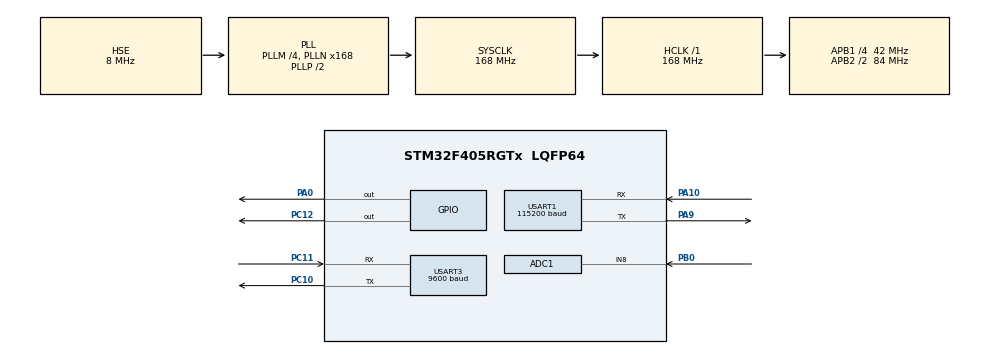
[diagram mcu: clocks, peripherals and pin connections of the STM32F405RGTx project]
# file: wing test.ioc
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ADC1.Channel-0\#ChannelRegularConversion=ADC_CHANNEL_8
ADC1.ContinuousConvMode=DISABLE
ADC1.InjNumberOfConversion=0
ADC1.NbrOfConversion=1
ADC1.NbrOfConversionFlag=1
ADC1.Rank-0\#ChannelRegularConversion=1
ADC1.SamplingTime-0\#ChannelRegularConversion=ADC_SAMPLETIME_144CYCLES
ADC1.ScanConvMode=DISABLE
ADC1.master=1
Mcu.Family=STM32F4
Mcu.Name=STM32F405RGTx
Mcu.Package=LQFP64
NVIC.PriorityGroup=NVIC_PRIORITYGROUP_4
NVIC.TIM3_IRQn=true\:13\:0\:true\:false\:true\:true\:true\:true
NVIC.USART3_IRQn=true\:2\:0\:true\:false\:true\:true\:true\:true
PA0-WKUP.GPIO_PuPd=GPIO_NOPULL
PA0-WKUP.GPIO_Speed=GPIO_SPEED_FREQ_VERY_HIGH
PA0-WKUP.PinState=GPIO_PIN_RESET
PA0-WKUP.Signal=GPIO_Output
PA10.Mode=Asynchronous
PA10.Signal=USART1_RX
PA9.Mode=Asynchronous
PA9.Signal=USART1_TX
PB0.Signal=ADCx_IN8
PC10.Mode=Asynchronous
PC10.Signal=USART3_TX
PC11.Mode=Asynchronous
PC11.Signal=USART3_RX
PC12.GPIO_ModeDefaultOutputPP=GPIO_MODE_OUTPUT_OD
PC12.GPIO_PuPd=GPIO_NOPULL
PC12.Signal=GPIO_Output
PH0-OSC_IN.Mode=HSE-External-Oscillator
PH0-OSC_IN.Signal=RCC_OSC_IN
PH1-OSC_OUT.Mode=HSE-External-Oscillator
PH1-OSC_OUT.Signal=RCC_OSC_OUT
ProjectManager.HeapSize=0x200
ProjectManager.StackSize=0x400
ProjectManager.TargetToolchain=MDK-ARM V5
RCC.48MHZClocksFreq_Value=84000000
RCC.AHBFreq_Value=168000000
RCC.APB1CLKDivider=RCC_HCLK_DIV4
RCC.APB1Freq_Value=42000000
RCC.APB1TimFreq_Value=84000000
RCC.APB2CLKDivider=RCC_HCLK_DIV2
RCC.APB2Freq_Value=84000000
RCC.APB2TimFreq_Value=168000000
RCC.CortexFreq_Value=168000000
RCC.HCLKFreq_Value=168000000
RCC.HSE_VALUE=8000000
RCC.HSI_VALUE=16000000
RCC.LSE_VALUE=32768
RCC.PLLM=4
RCC.PLLN=168
RCC.PLLSourceVirtual=RCC_PLLSOURCE_HSE
RCC.SYSCLKFreq_VALUE=168000000
RCC.SYSCLKSource=RCC_SYSCLKSOURCE_PLLCLK
RCC.VCOOutputFreq_Value=336000000
SH.ADCx_IN8.0=ADC1_IN8,IN8
TIM3.AutoReloadPreload=TIM_AUTORELOAD_PRELOAD_ENABLE
TIM3.Period=9999
TIM3.Prescaler=4799
USART1.BaudRate=115200
USART1.VirtualMode=VM_ASYNC
USART3.BaudRate=9600
USART3.VirtualMode=VM_ASYNC
VP_TIM3_VS_ClockSourceINT.Mode=Internal
board=custom

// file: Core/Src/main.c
/* USER CODE BEGIN Header */
/**
  ******************************************************************************
  * @file           : main.c
  * @brief          : Main program body
  ******************************************************************************
  * @attention
  *
  * Copyright (c) 2022 STMicroelectronics.
  * All rights reserved.
  *
  * This software is licensed under terms that can be found in the LICENSE file
  * in the root directory of this software component.
  * If no LICENSE file comes with this software, it is provided AS-IS.
  *
  ******************************************************************************
  */
/* USER CODE END Header */
#include "main.h"
#include "adc.h"
#include "tim.h"
#include "usart.h"
#include "gpio.h"

/* USER CODE BEGIN PV */
  uint8_t USART_Buffer[50],buffer[1];
  uint16_t USART_Length = 0;
/* USER CODE END PV */

void SystemClock_Config(void);

int main(void)
{

  /* MCU Configuration--------------------------------------------------------*/

  /* Reset of all peripherals, Initializes the Flash interface and the Systick. */
  HAL_Init();

  /* Configure the system clock */
  SystemClock_Config();

  /* Initialize all configured peripherals */
  MX_GPIO_Init();
  MX_USART1_UART_Init();
  MX_TIM3_Init();
  MX_ADC1_Init();
  MX_USART3_UART_Init();
  /* USER CODE BEGIN 2 */
  HAL_TIM_Base_Start_IT(&htim3);
  printf("Hello,world!\r\n");
  HAL_UART_Receive_IT(&huart3,buffer,1);
  /* USER CODE END 2 */

  /* Infinite loop */
  /* USER CODE BEGIN WHILE */
  while (1)
  {
//    HAL_GPIO_TogglePin(GPIOA,GPIO_PIN_0);
//    printf("Hello,world!%0.4f\r\n",3.1415926);
//    HAL_Delay(1000);
    /* USER CODE END WHILE */

  }
}

void SystemClock_Config(void)
{
  RCC_OscInitTypeDef RCC_OscInitStruct = {0};
  RCC_ClkInitTypeDef RCC_ClkInitStruct = {0};

  /** Configure the main internal regulator output voltage
  */
  __HAL_RCC_PWR_CLK_ENABLE();
  __HAL_PWR_VOLTAGESCALING_CONFIG(PWR_REGULATOR_VOLTAGE_SCALE1);

  /** Initializes the RCC Oscillators according to the specified parameters
  * in the RCC_OscInitTypeDef structure.
  */
  RCC_OscInitStruct.OscillatorType = RCC_OSCILLATORTYPE_HSE;
  RCC_OscInitStruct.HSEState = RCC_HSE_ON;
  RCC_OscInitStruct.PLL.PLLState = RCC_PLL_ON;
  RCC_OscInitStruct.PLL.PLLSource = RCC_PLLSOURCE_HSE;
  RCC_OscInitStruct.PLL.PLLM = 4;
  RCC_OscInitStruct.PLL.PLLN = 168;
  RCC_OscInitStruct.PLL.PLLP = RCC_PLLP_DIV2;
  RCC_OscInitStruct.PLL.PLLQ = 4;
  if (HAL_RCC_OscConfig(&RCC_OscInitStruct) != HAL_OK)
  {
    Error_Handler();
  }

  /** Initializes the CPU, AHB and APB buses clocks
  */
  RCC_ClkInitStruct.ClockType = RCC_CLOCKTYPE_HCLK|RCC_CLOCKTYPE_SYSCLK
                              |RCC_CLOCKTYPE_PCLK1|RCC_CLOCKTYPE_PCLK2;
  RCC_ClkInitStruct.SYSCLKSource = RCC_SYSCLKSOURCE_PLLCLK;
  RCC_ClkInitStruct.AHBCLKDivider = RCC_SYSCLK_DIV1;
  RCC_ClkInitStruct.APB1CLKDivider = RCC_HCLK_DIV4;
  RCC_ClkInitStruct.APB2CLKDivider = RCC_HCLK_DIV2;

  if (HAL_RCC_ClockConfig(&RCC_ClkInitStruct, FLASH_LATENCY_5) != HAL_OK)
  {
    Error_Handler();
  }
}

/* USER CODE BEGIN 4 */
void HAL_TIM_PeriodElapsedCallback(TIM_HandleTypeDef *htim)
{
  static uint32_t voltage_uint32;
  static double voltage;
  if(htim->Instance == TIM3)
  {
    HAL_ADC_Start(&hadc1);
    HAL_ADC_GetState(&hadc1);
    voltage_uint32 = HAL_ADC_GetValue(&hadc1);
    voltage = voltage_uint32/4095.0*50000;
    HAL_GPIO_TogglePin(GPIOA,GPIO_PIN_0);
    printf("voltage:%0.8f\r\n",voltage);
  }
}

void HAL_UART_RxCpltCallback(UART_HandleTypeDef *huart)
{
  static uint8_t res[1];
  static uint16_t point = 1;
  uint32_t measure_char;
  double measure_double;
  HAL_UART_Receive_IT(&huart3,res,1);
  USART_Buffer[USART_Length] = res[0];
  if(res[0] == '.')
  {
    point = USART_Length;
  }
  if((point != 1)&&(USART_Length == point + 5))
  {
    HAL_GPIO_TogglePin(GPIOA,GPIO_PIN_0);
    HAL_ADC_Start(&hadc1);
    HAL_ADC_GetState(&hadc1);
    measure_char = HAL_ADC_GetValue(&hadc1);
    measure_double = measure_char/4095.0*50000;
    HAL_UART_Transmit(&huart1,USART_Buffer + point - 3,8,1000);
    printf("    %0.8f\r\n",measure_double);
    USART_Length = 0;
  }
  USART_Length++;
}
/* USER CODE END 4 */

void Error_Handler(void)
{
  __disable_irq();
  while (1)
  {
  }
}
